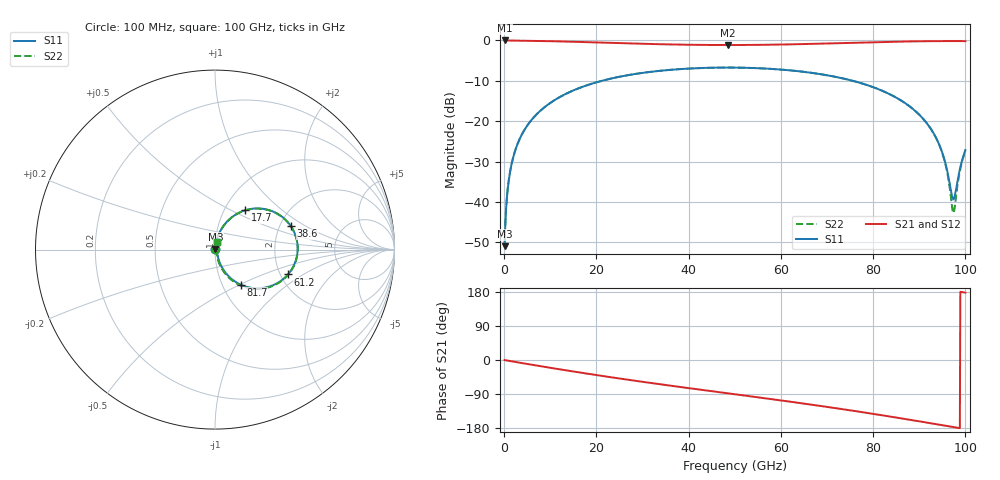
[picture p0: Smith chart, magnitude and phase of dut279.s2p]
! Touchstone file exported from HFSS 2026.1.0
!  File:  C:/ffzhzh/LocalFiles/Ansys_Project_Files/temp_train_RDL_279_1783502004_55944.aedt
!  Generated:  05:14:52 PM Jul  8, 2026
!  Design:  RDL
!  Project:  temp_train_RDL_279_1783502004_55944
! Variables:
!  h_bsmrdl = 2um
!  h_ox = 20um
!  h_rdl = 5um
!  h_sub = 80um
!  h_tmrdl = 4.76um
!  h_tsv = 80um
!  h_via = 3um
!  l_bsmrdl = 300um
!  l_sub = 1012.65um
!  l_tmrdl = 612.65um
!  m_sub = 200um
!  pitch = 48.76um
!  r_tsv = 6um
!  s_tmrdl = 10um
!  w_bsmrdl = 18um
!  w_sub = 500um
!  w_tmrdl = 26.17um
!  x_tsv_center1 = 625.735um
!  x_tsv_center2 = 943.735um
!  x_tsv_center3 = 1582.555um
!  x_tsv_center4 = 1900.555um
!  x_tsv_center5 = 2539.375um
!  x_tsv_center6 = 2857.375um
# GHz S MA R 50.000000
! Terminal data exported
! Port[1] = TM_RDL1_1_T1
! Port[2] = TM_RDL1_1_T2
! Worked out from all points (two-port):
!   1000 points, 100 MHz to 100 GHz, reference 50 ohm
!   highest |S21| = -0.02 dB at 100 MHz (marker M1); lowest = -1.1 dB at 48.5 GHz (marker M2)
!   |S21| within 3 dB of the highest: start of sweep to end of sweep
!   lowest |S11| = -50.9 dB at 100 MHz (marker M3), VSWR 1.01, Z = 50.2 + j0.205 ohm
!   |S11| at or under -10 dB: start of sweep to 21.21 GHz; 75.54 GHz to end of sweep
!   |S22| runs from -50.9 to -6.7 dB; largest |S21 - S12| = 1.7e-14
!   S11 on the Smith chart (normalised r, x): 100 MHz: 1.00, +0.00; 17.7 GHz: 1.25, +0.59; 38.6 GHz: 2.30, +0.74; 61.2 GHz: 2.20, -0.74; 81.7 GHz: 1.22, -0.50; 100 GHz: 1.02, +0.09
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0.1  0.002835 46.2  0.998 -0.2  0.998 -0.2  0.002835 46.2
! Gamma 0 0 0 0
! Port Impedance 50 0 50 0
0.8  0.01495 78.6  0.9974 -1.7  0.9974 -1.7  0.01495 78.6
1.4  0.02567 80.8  0.9969 -3.0  0.9969 -3.0  0.02567 80.8
2.4  0.04343 80.4  0.9957 -5.1  0.9957 -5.1  0.04343 80.4
3.9  0.06947 78.1  0.9931 -8.2  0.9931 -8.2  0.06947 78.1
8.9  0.1511 69.0  0.9813 -18.3  0.9813 -18.3  0.1511 68.9
16.8  0.2638 54.3  0.9551 -33.8  0.9551 -33.8  0.2638 54.1
17.7  0.2752 52.6  0.9518 -35.5  0.9518 -35.5  0.2752 52.5
33.4  0.4181 25.5  0.8974 -63.3  0.8974 -63.3  0.4182 25.2
38.6  0.4428 17.1  0.8855 -71.9  0.8855 -71.9  0.4429 16.7
48.5  0.4609 1.4  0.8762 -87.9  0.8762 -87.9  0.461 1.0
50.1  0.4603 -1.1  0.8764 -90.5  0.8764 -90.5  0.4605 -1.6
61.2  0.4295 -18.8  0.891 -108.6  0.891 -108.6  0.4297 -19.4
66.7  0.3962 -27.8  0.9054 -118.0  0.9054 -118.0  0.3964 -28.5
81.7  0.2415 -53.8  0.9548 -145.4  0.9548 -145.4  0.2417 -55.0
83.4  0.2183 -56.8  0.9598 -148.7  0.9598 -148.7  0.2185 -58.1
89.1  0.1342 -66.2  0.9735 -160.0  0.9735 -160.0  0.1343 -68.2
93.1  0.07091 -70.1  0.9791 -168.1  0.9791 -168.1  0.07076 -73.4
95.4  0.0343 -65.1  0.9805 -172.8  0.9805 -172.8  0.03366 -71.5
97.4  0.01077 3.7  0.9807 -176.9  0.9807 -176.9  0.007287 1.5
99  0.02851 67.1  0.98 179.8  0.98 179.8  0.02711 73.1
100  0.044 73.1  0.9793 177.7  0.9793 177.7  0.043 76.9
